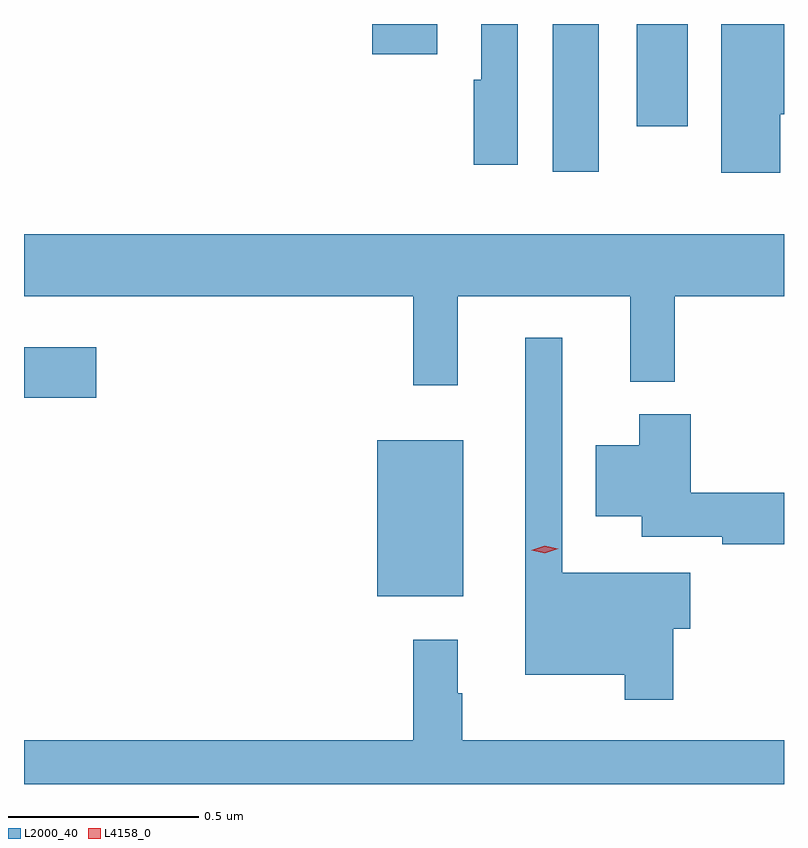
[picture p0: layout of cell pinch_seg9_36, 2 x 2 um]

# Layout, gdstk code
import gdstk
lib = gdstk.Library(unit=1e-6, precision=1e-09)
def R(c, l, rs):  # rectangles x0, y0, x1, y1
    for r in rs: c.add(gdstk.rectangle(r[:2], r[2:], *l))
def P(c, l, *ps):  # polygons
    for p in ps: c.add(gdstk.Polygon(p, *l))
L2000_40 = (2000, 40)
L4158_0 = (4158, 0)

pinch_seg9_36 = lib.new_cell('pinch_seg9_36')
R(pinch_seg9_36, L2000_40, [(911.486,1218.275,911.713,1218.685), (910.557,1218.797,910.747,1218.931), (911.948,1219.392,912.07,1219.781), (912.17,1219.512,912.304,1219.781), (911.474,1219.701,911.644,1219.781)])
P(pinch_seg9_36, L2000_40, [(912.547,1219.544),(912.557,1219.544),(912.557,1219.781),(912.392,1219.781),(912.392,1219.389),(912.547,1219.389)],
  [(911.856,1219.781),(911.76,1219.781),(911.76,1219.634),(911.74,1219.634),(911.74,1219.41),(911.856,1219.41)],
  [(911.699,1219.064),(912.152,1219.064),(912.152,1218.839),(912.269,1218.839),(912.269,1219.064),(912.557,1219.064),(912.557,1219.228),(910.557,1219.228),(910.557,1219.064),(911.581,1219.064),(911.581,1218.831),(911.699,1218.831)],
  [(912.266,1218.19),(912.31,1218.19),(912.31,1218.337),(911.973,1218.337),(911.973,1218.955),(911.876,1218.955),(911.876,1218.068),(912.138,1218.068),(912.138,1218.003),(912.266,1218.003)],
  [(912.557,1218.548),(912.311,1218.548),(912.311,1218.754),(912.176,1218.754),(912.176,1218.673),(912.062,1218.673),(912.062,1218.485),(912.182,1218.485),(912.182,1218.432),(912.394,1218.432),(912.394,1218.412),(912.557,1218.412)],
  [(912.557,1217.896),(911.71,1217.896),(911.71,1218.02),(911.698,1218.02),(911.698,1218.16),(911.581,1218.16),(911.581,1217.896),(910.557,1217.896),(910.557,1217.781),(912.557,1217.781)])
P(pinch_seg9_36, L4158_0, [(911.928,1218.388),(911.892,1218.396),(911.892,1218.396),(911.892,1218.396),(911.927,1218.408),(911.963,1218.4),(911.963,1218.4),(911.963,1218.4)])

lib.write_gds('pinch_seg9_36.gds')
